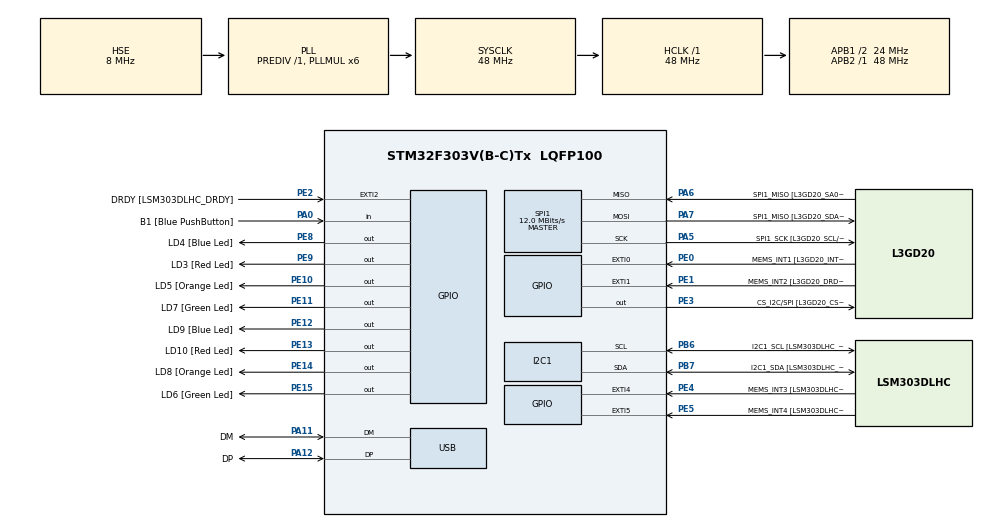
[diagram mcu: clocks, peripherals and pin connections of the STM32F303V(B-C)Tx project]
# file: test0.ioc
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I2C1.Timing=0x2000090E
I2C1.Timing-I2C=0x2000090E
Mcu.Family=STM32F3
Mcu.Name=STM32F303V(B-C)Tx
Mcu.Package=LQFP100
NVIC.PriorityGroup=NVIC_PRIORITYGROUP_0
PA0.GPIO_Label=B1 [Blue PushButton]
PA0.Signal=GPIO_Input
PA11.GPIO_Label=DM
PA11.Mode=Device
PA11.Signal=USB_DM
PA12.GPIO_Label=DP
PA12.Mode=Device
PA12.Signal=USB_DP
PA13.GPIO_Label=SWDIO
PA13.Mode=Serial_Wire
PA13.Signal=SYS_JTMS-SWDIO
PA14.GPIO_Label=SWCLK
PA14.Mode=Serial_Wire
PA14.Signal=SYS_JTCK-SWCLK
PA5.GPIO_Label=SPI1_SCK [L3GD20_SCL/SPC]
PA5.Mode=Full_Duplex_Master
PA5.Signal=SPI1_SCK
PA6.GPIO_Label=SPI1_MISO [L3GD20_SA0/SDO]
PA6.Mode=Full_Duplex_Master
PA6.Signal=SPI1_MISO
PA7.GPIO_Label=SPI1_MISO [L3GD20_SDA/SDI/SDO]
PA7.Mode=Full_Duplex_Master
PA7.Signal=SPI1_MOSI
PB3.GPIO_Label=SWO
PB3.Signal=SYS_JTDO-TRACESWO
PB6.GPIO_Label=I2C1_SCL [LSM303DLHC_SCL]
PB6.GPIO_Pu=GPIO_PULLUP
PB6.Mode=I2C
PB6.Signal=I2C1_SCL
PB7.GPIO_Label=I2C1_SDA [LSM303DLHC_SDA]
PB7.GPIO_Pu=GPIO_PULLUP
PB7.Mode=I2C
PB7.Signal=I2C1_SDA
PC14-OSC32_IN.GPIO_Label=OSC32_IN
PC14-OSC32_IN.Signal=RCC_OSC32_IN
PC15-OSC32_OUT.GPIO_Label=OSC32_OUT
PC15-OSC32_OUT.Signal=RCC_OSC32_OUT
PE0.GPIO_Label=MEMS_INT1 [L3GD20_INT1]
PE0.GPIO_ModeDefaultEXTI=GPIO_MODE_EVT_RISING
PE0.Signal=GPXTI0
PE1.GPIO_Label=MEMS_INT2 [L3GD20_DRDY/INT2]
PE1.GPIO_ModeDefaultEXTI=GPIO_MODE_EVT_RISING
PE1.Signal=GPXTI1
PE10.GPIO_Label=LD5 [Orange Led]
PE10.Signal=GPIO_Output
PE11.GPIO_Label=LD7 [Green Led]
PE11.Signal=GPIO_Output
PE12.GPIO_Label=LD9 [Blue Led]
PE12.Signal=GPIO_Output
PE13.GPIO_Label=LD10 [Red Led]
PE13.Signal=GPIO_Output
PE14.GPIO_Label=LD8 [Orange Led]
PE14.Signal=GPIO_Output
PE15.GPIO_Label=LD6 [Green Led]
PE15.Signal=GPIO_Output
PE2.GPIO_Label=DRDY [LSM303DLHC_DRDY]
PE2.GPIO_ModeDefaultEXTI=GPIO_MODE_EVT_RISING
PE2.Signal=GPXTI2
PE3.GPIO_Label=CS_I2C/SPI [L3GD20_CS_I2C/SPI]
PE3.Signal=GPIO_Output
PE4.GPIO_Label=MEMS_INT3 [LSM303DLHC_INT1]
PE4.GPIO_ModeDefaultEXTI=GPIO_MODE_EVT_RISING
PE4.Signal=GPXTI4
PE5.GPIO_Label=MEMS_INT4 [LSM303DLHC_INT2]
PE5.GPIO_ModeDefaultEXTI=GPIO_MODE_EVT_RISING
PE5.Signal=GPXTI5
PE8.GPIO_Label=LD4 [Blue Led]
PE8.Signal=GPIO_Output
PE9.GPIO_Label=LD3 [Red Led]
PE9.Signal=GPIO_Output
PF0-OSC_IN.GPIO_Label=OSC_IN
PF0-OSC_IN.Mode=HSE-External-Clock-Source
PF0-OSC_IN.Signal=RCC_OSC_IN
PF1-OSC_OUT.GPIO_Label=OSC_OUT
PF1-OSC_OUT.Signal=RCC_OSC_OUT
ProjectManager.HeapSize=0x200
ProjectManager.StackSize=0x400
ProjectManager.TargetToolchain=STM32CubeIDE
RCC.AHBFreq_Value=48000000
RCC.APB1CLKDivider=RCC_HCLK_DIV2
RCC.APB1Freq_Value=24000000
RCC.APB1TimFreq_Value=48000000
RCC.APB2Freq_Value=48000000
RCC.APB2TimFreq_Value=48000000
RCC.CortexFreq_Value=48000000
RCC.HCLKFreq_Value=48000000
RCC.HSE_VALUE=8000000
RCC.HSI_VALUE=8000000
RCC.LSE_VALUE=32768
RCC.PLLMUL=RCC_PLL_MUL6
RCC.SYSCLKFreq_VALUE=48000000
RCC.SYSCLKSourceVirtual=RCC_SYSCLKSOURCE_PLLCLK
RCC.USBFreq_Value=48000000
SPI1.BaudRatePrescaler=SPI_BAUDRATEPRESCALER_4
SPI1.BaudRatePrescaler-Full_Duplex_Master=SPI_BAUDRATEPRESCALER_2
SPI1.CalculateBaudRate=12.0 MBits/s
SPI1.CalculateBaudRate-Full_Duplex_Master=24.0 MBits/s
SPI1.Direction=SPI_DIRECTION_2LINES
SPI1.Mode=SPI_MODE_MASTER
SPI1.Mode-Full_Duplex_Master=SPI_MODE_MASTER
SPI1.VirtualType=VM_MASTER
board=STM32F3DISCOVERY

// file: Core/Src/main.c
/* USER CODE BEGIN Header */
/**
  ******************************************************************************
  * @file           : main.c
  * @brief          : Main program body
  ******************************************************************************
  * @attention
  *
  * <h2><center>&copy; Copyright (c) 2022 STMicroelectronics.
  * All rights reserved.</center></h2>
  *
  * This software component is licensed by ST under BSD 3-Clause license,
  * the "License"; You may not use this file except in compliance with the
  * License. You may obtain a copy of the License at:
  *                        opensource.org/licenses/BSD-3-Clause
  *
  ******************************************************************************
  */
/* USER CODE END Header */
#include "main.h"

I2C_HandleTypeDef hi2c1;

SPI_HandleTypeDef hspi1;

PCD_HandleTypeDef hpcd_USB_FS;

void SystemClock_Config(void);
static void MX_GPIO_Init(void);
static void MX_I2C1_Init(void);
static void MX_SPI1_Init(void);
static void MX_USB_PCD_Init(void);

int main(void)
{

  /* MCU Configuration--------------------------------------------------------*/

  /* Reset of all peripherals, Initializes the Flash interface and the Systick. */
  HAL_Init();

  /* Configure the system clock */
  SystemClock_Config();

  /* Initialize all configured peripherals */
  MX_GPIO_Init();
  MX_I2C1_Init();
  MX_SPI1_Init();
  MX_USB_PCD_Init();

  /* Infinite loop */
  while (1)
  {

    /* USER CODE BEGIN 3 */
	  Hal_GPIO_WritePin(GPIOE,GPIO_PIN_8,1);
	  HAL_Delay(1000);
	  Hal_GPIO_WritePin(GPIOE,GPIO_PIN_9,1);
	  HAL_Delay(1000);
	  Hal_GPIO_WritePin(GPIOE,GPIO_PIN_10,1);
	  HAL_Delay(1000);
	  Hal_GPIO_WritePin(GPIOE,GPIO_PIN_11,1);
	  HAL_Delay(1000);
	  Hal_GPIO_WritePin(GPIOE,GPIO_PIN_12,1);
	  HAL_Delay(1000);
	  Hal_GPIO_WritePin(GPIOE,GPIO_PIN_13,1);
	  HAL_Delay(1000);
	  Hal_GPIO_WritePin(GPIOE,GPIO_PIN_14,1);
	  HAL_Delay(1000);
	  Hal_GPIO_WritePin(GPIOE,GPIO_PIN_15,1);
	  HAL_Delay(1000);

  }
  /* USER CODE END 3 */
}

void SystemClock_Config(void)
{
  RCC_OscInitTypeDef RCC_OscInitStruct = {0};
  RCC_ClkInitTypeDef RCC_ClkInitStruct = {0};
  RCC_PeriphCLKInitTypeDef PeriphClkInit = {0};

  /** Initializes the RCC Oscillators according to the specified parameters
  * in the RCC_OscInitTypeDef structure.
  */
  RCC_OscInitStruct.OscillatorType = RCC_OSCILLATORTYPE_HSI|RCC_OSCILLATORTYPE_HSE;
  RCC_OscInitStruct.HSEState = RCC_HSE_BYPASS;
  RCC_OscInitStruct.HSEPredivValue = RCC_HSE_PREDIV_DIV1;
  RCC_OscInitStruct.HSIState = RCC_HSI_ON;
  RCC_OscInitStruct.HSICalibrationValue = RCC_HSICALIBRATION_DEFAULT;
  RCC_OscInitStruct.PLL.PLLState = RCC_PLL_ON;
  RCC_OscInitStruct.PLL.PLLSource = RCC_PLLSOURCE_HSE;
  RCC_OscInitStruct.PLL.PLLMUL = RCC_PLL_MUL6;
  if (HAL_RCC_OscConfig(&RCC_OscInitStruct) != HAL_OK)
  {
    Error_Handler();
  }
  /** Initializes the CPU, AHB and APB buses clocks
  */
  RCC_ClkInitStruct.ClockType = RCC_CLOCKTYPE_HCLK|RCC_CLOCKTYPE_SYSCLK
                              |RCC_CLOCKTYPE_PCLK1|RCC_CLOCKTYPE_PCLK2;
  RCC_ClkInitStruct.SYSCLKSource = RCC_SYSCLKSOURCE_PLLCLK;
  RCC_ClkInitStruct.AHBCLKDivider = RCC_SYSCLK_DIV1;
  RCC_ClkInitStruct.APB1CLKDivider = RCC_HCLK_DIV2;
  RCC_ClkInitStruct.APB2CLKDivider = RCC_HCLK_DIV1;

  if (HAL_RCC_ClockConfig(&RCC_ClkInitStruct, FLASH_LATENCY_1) != HAL_OK)
  {
    Error_Handler();
  }
  PeriphClkInit.PeriphClockSelection = RCC_PERIPHCLK_USB|RCC_PERIPHCLK_I2C1;
  PeriphClkInit.I2c1ClockSelection = RCC_I2C1CLKSOURCE_HSI;
  PeriphClkInit.USBClockSelection = RCC_USBCLKSOURCE_PLL;
  if (HAL_RCCEx_PeriphCLKConfig(&PeriphClkInit) != HAL_OK)
  {
    Error_Handler();
  }
}

static void MX_I2C1_Init(void)
{

  hi2c1.Instance = I2C1;
  hi2c1.Init.Timing = 0x2000090E;
  hi2c1.Init.OwnAddress1 = 0;
  hi2c1.Init.AddressingMode = I2C_ADDRESSINGMODE_7BIT;
  hi2c1.Init.DualAddressMode = I2C_DUALADDRESS_DISABLE;
  hi2c1.Init.OwnAddress2 = 0;
  hi2c1.Init.OwnAddress2Masks = I2C_OA2_NOMASK;
  hi2c1.Init.GeneralCallMode = I2C_GENERALCALL_DISABLE;
  hi2c1.Init.NoStretchMode = I2C_NOSTRETCH_DISABLE;
  if (HAL_I2C_Init(&hi2c1) != HAL_OK)
  {
    Error_Handler();
  }
  /** Configure Analogue filter
  */
  if (HAL_I2CEx_ConfigAnalogFilter(&hi2c1, I2C_ANALOGFILTER_ENABLE) != HAL_OK)
  {
    Error_Handler();
  }
  /** Configure Digital filter
  */
  if (HAL_I2CEx_ConfigDigitalFilter(&hi2c1, 0) != HAL_OK)
  {
    Error_Handler();
  }

}

static void MX_SPI1_Init(void)
{

  /* SPI1 parameter configuration*/
  hspi1.Instance = SPI1;
  hspi1.Init.Mode = SPI_MODE_MASTER;
  hspi1.Init.Direction = SPI_DIRECTION_2LINES;
  hspi1.Init.DataSize = SPI_DATASIZE_4BIT;
  hspi1.Init.CLKPolarity = SPI_POLARITY_LOW;
  hspi1.Init.CLKPhase = SPI_PHASE_1EDGE;
  hspi1.Init.NSS = SPI_NSS_SOFT;
  hspi1.Init.BaudRatePrescaler = SPI_BAUDRATEPRESCALER_4;
  hspi1.Init.FirstBit = SPI_FIRSTBIT_MSB;
  hspi1.Init.TIMode = SPI_TIMODE_DISABLE;
  hspi1.Init.CRCCalculation = SPI_CRCCALCULATION_DISABLE;
  hspi1.Init.CRCPolynomial = 7;
  hspi1.Init.CRCLength = SPI_CRC_LENGTH_DATASIZE;
  hspi1.Init.NSSPMode = SPI_NSS_PULSE_ENABLE;
  if (HAL_SPI_Init(&hspi1) != HAL_OK)
  {
    Error_Handler();
  }

}

static void MX_USB_PCD_Init(void)
{

  hpcd_USB_FS.Instance = USB;
  hpcd_USB_FS.Init.dev_endpoints = 8;
  hpcd_USB_FS.Init.speed = PCD_SPEED_FULL;
  hpcd_USB_FS.Init.phy_itface = PCD_PHY_EMBEDDED;
  hpcd_USB_FS.Init.low_power_enable = DISABLE;
  hpcd_USB_FS.Init.battery_charging_enable = DISABLE;
  if (HAL_PCD_Init(&hpcd_USB_FS) != HAL_OK)
  {
    Error_Handler();
  }

}

static void MX_GPIO_Init(void)
{
  GPIO_InitTypeDef GPIO_InitStruct = {0};

  /* GPIO Ports Clock Enable */
  __HAL_RCC_GPIOE_CLK_ENABLE();
  __HAL_RCC_GPIOC_CLK_ENABLE();
  __HAL_RCC_GPIOF_CLK_ENABLE();
  __HAL_RCC_GPIOA_CLK_ENABLE();
  __HAL_RCC_GPIOB_CLK_ENABLE();

  /*Configure GPIO pin Output Level */
  HAL_GPIO_WritePin(GPIOE, CS_I2C_SPI_Pin|LD4_Pin|LD3_Pin|LD5_Pin
                          |LD7_Pin|LD9_Pin|LD10_Pin|LD8_Pin
                          |LD6_Pin, GPIO_PIN_RESET);

  /*Configure GPIO pins : DRDY_Pin MEMS_INT3_Pin MEMS_INT4_Pin MEMS_INT1_Pin
                           MEMS_INT2_Pin */
  GPIO_InitStruct.Pin = DRDY_Pin|MEMS_INT3_Pin|MEMS_INT4_Pin|MEMS_INT1_Pin
                          |MEMS_INT2_Pin;
  GPIO_InitStruct.Mode = GPIO_MODE_EVT_RISING;
  GPIO_InitStruct.Pull = GPIO_NOPULL;
  HAL_GPIO_Init(GPIOE, &GPIO_InitStruct);

  /*Configure GPIO pins : CS_I2C_SPI_Pin LD4_Pin LD3_Pin LD5_Pin
                           LD7_Pin LD9_Pin LD10_Pin LD8_Pin
                           LD6_Pin */
  GPIO_InitStruct.Pin = CS_I2C_SPI_Pin|LD4_Pin|LD3_Pin|LD5_Pin
                          |LD7_Pin|LD9_Pin|LD10_Pin|LD8_Pin
                          |LD6_Pin;
  GPIO_InitStruct.Mode = GPIO_MODE_OUTPUT_PP;
  GPIO_InitStruct.Pull = GPIO_NOPULL;
  GPIO_InitStruct.Speed = GPIO_SPEED_FREQ_LOW;
  HAL_GPIO_Init(GPIOE, &GPIO_InitStruct);

  /*Configure GPIO pin : B1_Pin */
  GPIO_InitStruct.Pin = B1_Pin;
  GPIO_InitStruct.Mode = GPIO_MODE_INPUT;
  GPIO_InitStruct.Pull = GPIO_NOPULL;
  HAL_GPIO_Init(B1_GPIO_Port, &GPIO_InitStruct);

}

void Error_Handler(void)
{
  __disable_irq();
  while (1)
  {
  }
}

/************************ (C) COPYRIGHT STMicroelectronics *****END OF FILE****/
